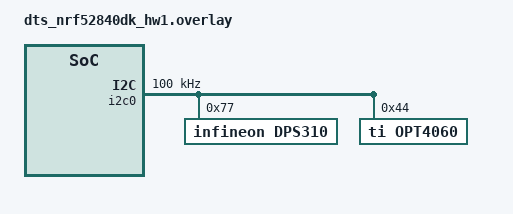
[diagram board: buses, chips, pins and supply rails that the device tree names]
/**
 * @copyright Ruuvi Innovations Ltd, license BSD-3-Clause.
 */

&i2c0 {
    status = "okay";
    clock-frequency = <I2C_BITRATE_STANDARD>;

    DPS310@77 {
        status = "okay";
        compatible = "infineon,dps310";
        reg = <0x77>;
    };
    OPT4060@44 {
        status = "okay";
        compatible = "ti,opt4060";
        reg = <0x44>;
    };
};

/ {
    aliases {
        gpio-supercap-active = &button1;
    };
};

